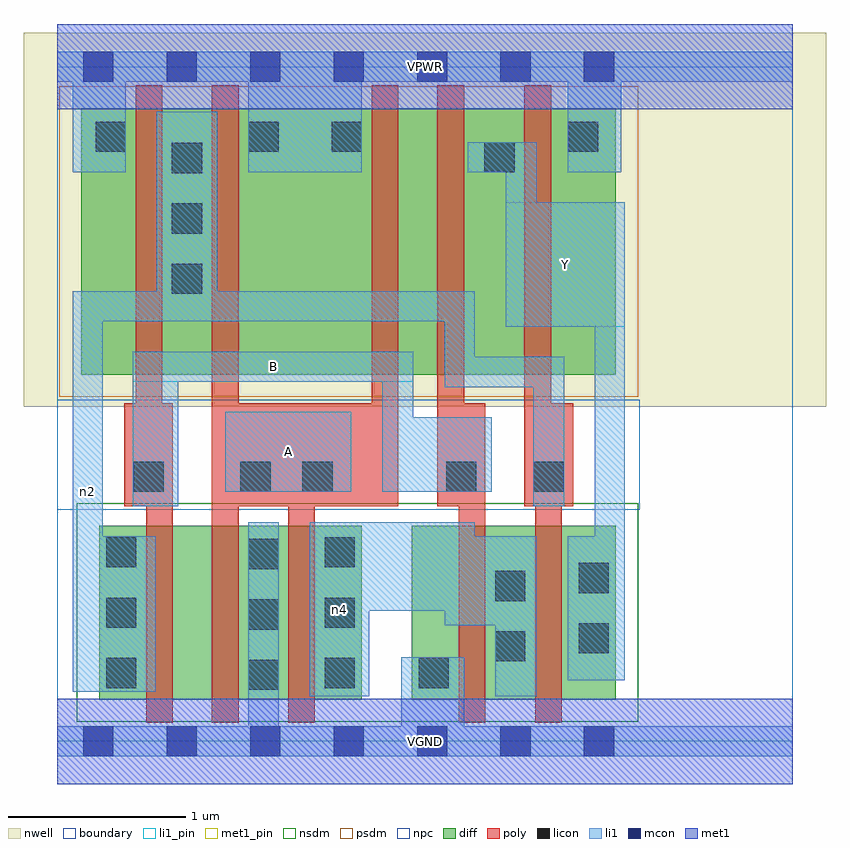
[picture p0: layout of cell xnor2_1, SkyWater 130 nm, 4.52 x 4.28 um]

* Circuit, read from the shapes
.subckt xnor2_1 A B VGND VPWR Y n2 n4
XM1 n1 B n2 VSUBS sky130_fd_pr__nfet_01v8 w=0.98 l=0.15
XM2 VGND A n1 VSUBS sky130_fd_pr__nfet_01v8 w=0.98 l=0.15
XM3 n4 A VGND VSUBS sky130_fd_pr__nfet_01v8 w=0.98 l=0.15
XM4 n4 B VGND VSUBS sky130_fd_pr__nfet_01v8 w=0.98 l=0.15
XM5 Y n2 n4 VSUBS sky130_fd_pr__nfet_01v8 w=0.98 l=0.15
XM6 n2 B VPWR n3 sky130_fd_pr__pfet_01v8 w=1.5 l=0.15
XM7 VPWR A n2 n3 sky130_fd_pr__pfet_01v8 w=1.5 l=0.15
XM8 n5 A VPWR n3 sky130_fd_pr__pfet_01v8 w=1.5 l=0.15
XM9 Y B n5 n3 sky130_fd_pr__pfet_01v8 w=1.5 l=0.15
XM10 VPWR n2 Y n3 sky130_fd_pr__pfet_01v8 w=1.5 l=0.15
.ends

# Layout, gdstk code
import gdstk
lib = gdstk.Library(unit=1e-6, precision=1e-09)
def R(c, l, rs):  # rectangles x0, y0, x1, y1
    for r in rs: c.add(gdstk.rectangle(r[:2], r[2:], *l))
def A(c, l, x, y, w, h, nx, ny, dx, dy):  # array of equal rectangles
    R(c, l, [(x+i*dx, y+j*dy, x+i*dx+w, y+j*dy+h) for i in range(nx) for j in range(ny)])
nwell = (64, 20)
diff = (65, 20)
poly = (66, 20)
licon = (66, 44)
li1_pin = (67, 16)
li1 = (67, 20)
mcon = (67, 44)
met1_pin = (68, 16)
met1 = (68, 20)
nsdm = (93, 44)
psdm = (94, 20)
npc = (95, 20)
boundary = (235, 4)

xnor2_1 = lib.new_cell('xnor2_1')
R(xnor2_1, nwell, [(-0.19,1.885,4.33,3.99), (0,1.885,4.14,3.99)])
R(xnor2_1, diff, [(0.235,0.235,1.715,1.215), (1.995,0.235,3.145,1.215), (0.135,2.065,3.145,3.565)])
R(xnor2_1, poly, [(0.5,0.105,0.65,1.905), (0.87,0.105,1.02,3.695), (1.3,0.105,1.45,1.905), (2.26,0.105,2.41,1.905), (2.69,0.105,2.84,1.905), (0.375,1.325,0.65,1.905), (0.44,1.325,0.59,3.695), (0.87,1.325,1.92,1.905), (1.77,1.325,1.92,3.695), (2.14,1.325,2.29,3.695), (2.63,1.325,2.905,1.905), (2.63,1.325,2.78,3.695)])
A(xnor2_1, licon, 1.075, 0.29, 0.17, 0.17, 1, 3, 0, 0.34)
A(xnor2_1, licon, 0.275, 0.3, 0.17, 0.17, 1, 3, 0, 0.34)
A(xnor2_1, licon, 1.505, 0.3, 0.17, 0.17, 1, 3, 0, 0.34)
A(xnor2_1, licon, 0.645, 2.52, 0.17, 0.17, 1, 3, 0, 0.34)
R(xnor2_1, licon, [(2.035,0.3,2.205,0.47), (2.465,0.45,2.635,0.62), (2.935,0.495,3.105,0.665), (2.465,0.79,2.635,0.96), (2.935,0.835,3.105,1.005), (0.43,1.405,0.6,1.575), (1.03,1.405,1.2,1.575), (1.38,1.405,1.55,1.575), (2.19,1.405,2.36,1.575), (2.68,1.405,2.85,1.575), (2.405,3.205,2.575,3.375), (0.215,3.32,0.385,3.49), (1.075,3.32,1.245,3.49), (1.545,3.32,1.715,3.49), (2.875,3.32,3.045,3.49)])
R(xnor2_1, li1_pin, [(0.945,1.405,1.655,1.855), (0.425,2.025,2.005,2.195), (2.525,2.335,3.195,3.035)])
R(xnor2_1, li1, [(0,-0.085,4.14,0.085), (1.075,-0.085,1.245,1.235), (1.935,-0.085,2.29,0.475), (1.42,0.255,1.755,1.235), (2.465,0.255,2.7,1.155), (0.085,0.28,0.255,2.535), (0.085,0.28,0.555,1.155), (2.875,0.345,3.195,1.155), (3.025,0.345,3.195,3.035), (2.18,0.655,2.7,1.155), (1.42,0.735,2.35,1.235), (0.425,1.325,0.68,2.195), (2.68,1.325,2.855,2.165), (0.945,1.405,1.655,1.855), (1.83,1.405,2.445,1.825), (1.83,1.405,2.005,2.195), (2.18,1.995,2.855,2.165), (2.18,1.995,2.35,2.535), (0.425,2.025,2.005,2.195), (2.525,2.335,3.195,3.035), (2.525,2.335,2.7,3.375), (0.085,2.365,2.35,2.535), (0.56,2.365,0.9,3.545), (0.085,3.205,0.385,3.885), (1.075,3.205,1.715,3.885), (2.31,3.205,2.7,3.375), (2.875,3.205,3.175,3.885), (0,3.715,4.14,3.885)])
A(xnor2_1, mcon, 0.145, -0.085, 0.17, 0.17, 7, 2, 0.47, 3.8)
R(xnor2_1, met1_pin, [(0,-0.24,4.14,0.24), (0,3.56,4.14,4.04)])
R(xnor2_1, met1, [(0,-0.24,4.14,0.24), (0,3.56,4.14,4.04)])
R(xnor2_1, nsdm, [(0.11,0.11,3.27,1.34)])
R(xnor2_1, psdm, [(0.01,1.94,3.27,3.69)])
R(xnor2_1, npc, [(0,1.305,3.28,1.925)])
R(xnor2_1, boundary, [(0,0,4.14,3.8)])
xnor2_1.add(gdstk.Label('A', (1.3,1.63), layer=67, texttype=5))
xnor2_1.add(gdstk.Label('B', (1.215,2.11), layer=67, texttype=5))
xnor2_1.add(gdstk.Label('Y', (2.86,2.685), layer=67, texttype=5))
xnor2_1.add(gdstk.Label('n4', (1.587,0.745), layer=67, texttype=5))
xnor2_1.add(gdstk.Label('n2', (0.17,1.407), layer=67, texttype=5))
xnor2_1.add(gdstk.Label('VPWR', (2.07,3.8), layer=68, texttype=5))
xnor2_1.add(gdstk.Label('VGND', (2.07,0), layer=68, texttype=5))
xnor2_1.add(gdstk.Label('A', (1.3,1.63), layer=67, texttype=16))
xnor2_1.add(gdstk.Label('B', (1.215,2.11), layer=67, texttype=16))
xnor2_1.add(gdstk.Label('Y', (2.86,2.685), layer=67, texttype=16))
xnor2_1.add(gdstk.Label('VPWR', (2.07,3.8), layer=68, texttype=16))
xnor2_1.add(gdstk.Label('VGND', (2.07,0), layer=68, texttype=16))

lib.write_gds('xnor2_1.gds')
